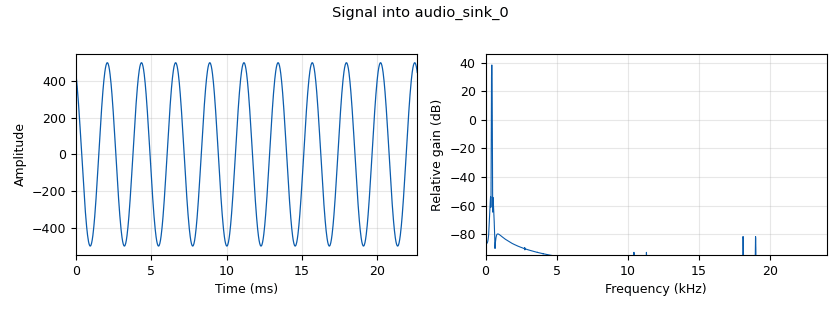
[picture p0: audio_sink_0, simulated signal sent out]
options:
  parameters:
    generate_options: qt_gui
    id: TestAudio
    output_language: python
    title: Test
  states: {}

blocks:
- name: samp_rate
  id: variable
  parameters:
    value: '48000'
  states: {}
- name: analog_sig_source_x_0
  id: analog_sig_source_x
  parameters:
    amp: '500'
    freq: '440'
    offset: '0'
    phase: '0'
    samp_rate: samp_rate
    type: float
    waveform: analog.GR_SIN_WAVE
  states: {}
- name: audio_sink_0
  id: audio_sink
  parameters:
    samp_rate: '48000'
  states: {}

connections:
- [analog_sig_source_x_0, '0', audio_sink_0, '0']

metadata:
  file_format: 1
